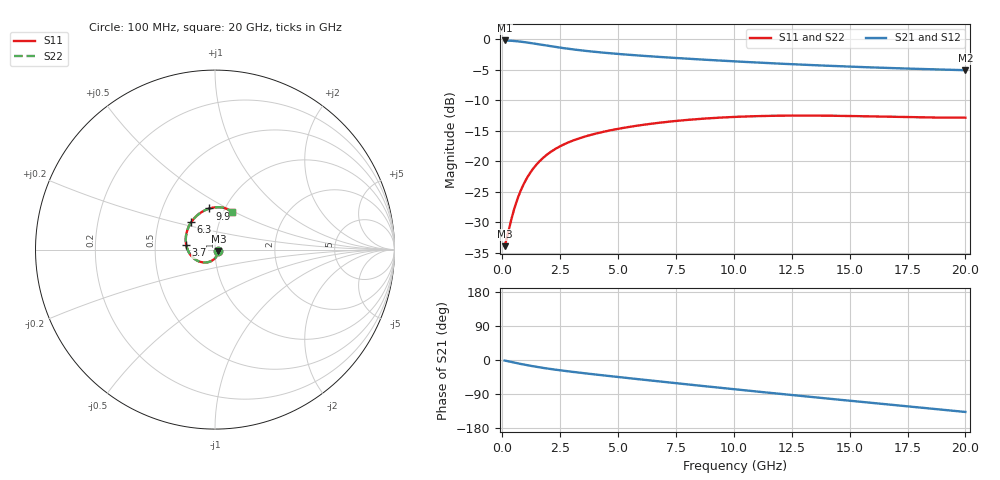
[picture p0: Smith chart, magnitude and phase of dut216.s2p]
! Created with skrf 1.9.0 (http://scikit-rf.org).
# GHz S RI R 50.0
!freq ReS11 ImS11 ReS21 ImS21 ReS12 ImS12 ReS22 ImS22
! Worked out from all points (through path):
!   200 points, 100 MHz to 20 GHz, reference 50 ohm
!   highest |S21| = -0.17 dB at 100 MHz (marker M1); lowest = -5.0 dB at 20 GHz (marker M2)
!   group delay of S21, straight-line fit = 17.9 ps
!   lowest |S11| = -33.9 dB at 100 MHz (marker M3), VSWR 1.04, Z = 51.9 - j0.796 ohm
!   |S11| at or under -10 dB: start of sweep to end of sweep
!   |S22| runs from -33.9 to -12.5 dB; largest |S21 - S12| = 2.5e-15
!   S11 on the Smith chart (normalised r, x): 100 MHz: 1.04, -0.02; 3.7 GHz: 0.72, +0.04; 6.3 GHz: 0.73, +0.23; 9.9 GHz: 0.85, +0.41; 20 GHz: 1.09, +0.48
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0.1  0.0187 -0.00766  0.9801 -0.0239  0.9801 -0.0239  0.0187 -0.00766
0.5  0.00744 -0.0392  0.9645 -0.113  0.9645 -0.113  0.00744 -0.0392
0.7  -0.00342 -0.0518  0.9504 -0.1543  0.9504 -0.1543  -0.00342 -0.0518
1  -0.024 -0.0652  0.9236 -0.2104  0.9236 -0.2104  -0.024 -0.0652
1.3  -0.0472 -0.0715  0.8924 -0.2588  0.8924 -0.2588  -0.0472 -0.0715
1.7  -0.078 -0.0694  0.848 -0.3124  0.848 -0.3124  -0.078 -0.0694
2.2  -0.1111 -0.0541  0.793 -0.3651  0.793 -0.3651  -0.1111 -0.0541
2.8  -0.1396 -0.0248  0.7314 -0.4142  0.7314 -0.4142  -0.1396 -0.0248
3.5  -0.1578 0.0152  0.6659 -0.46  0.6659 -0.46  -0.1578 0.0152
3.7  -0.1604 0.0268  0.6482 -0.4716  0.6482 -0.4716  -0.1604 0.0268
4.9  -0.1587 0.0922  0.5471 -0.5318  0.5471 -0.5318  -0.1587 0.0922
6.3  -0.1324 0.1528  0.4344 -0.5851  0.4344 -0.5851  -0.1324 0.1528
6.8  -0.1196 0.1699  0.3946 -0.5999  0.3946 -0.5999  -0.1196 0.1699
8.3  -0.0768 0.2076  0.277 -0.6314  0.277 -0.6314  -0.0768 0.2076
9.9  -0.0308 0.2291  0.1557 -0.6443  0.1557 -0.6443  -0.0308 0.2291
10.1  -0.0253 0.2306  0.141 -0.6445  0.141 -0.6445  -0.0253 0.2306
11.7  0.0144 0.2362  0.0273 -0.6362  0.0273 -0.6362  0.0144 0.2362
13.4  0.0472 0.2328  -0.0841 -0.6098  -0.0841 -0.6098  0.0472 0.2328
15  0.0689 0.2254  -0.1793 -0.571  -0.1793 -0.571  0.0689 0.2254
16.7  0.0831 0.217  -0.2696 -0.517  -0.2696 -0.517  0.0831 0.217
18.4  0.09 0.211  -0.3479 -0.4515  -0.3479 -0.4515  0.09 0.211
20  0.0921 0.2091  -0.41 -0.3807  -0.41 -0.3807  0.0921 0.2091
